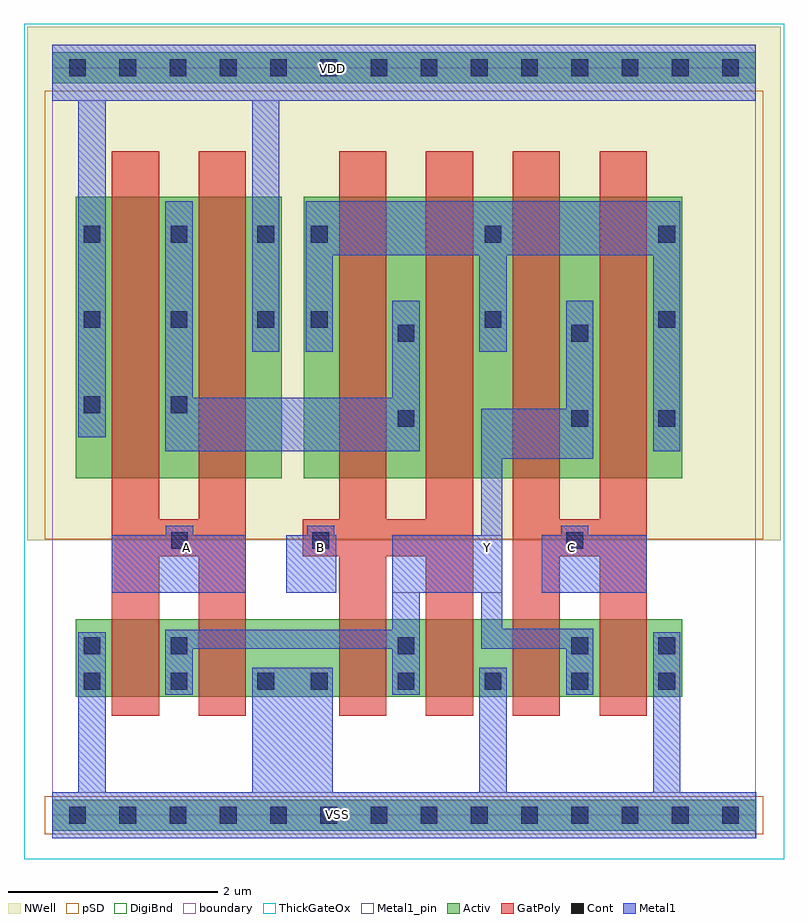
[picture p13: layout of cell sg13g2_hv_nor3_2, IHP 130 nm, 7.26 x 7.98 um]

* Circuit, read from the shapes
.subckt sg13g2_hv_nor3_2 A B C VDD VSS Y
XM1 Y A VSS VSS sg13_hv_nmos w=0.74u l=0.45u m=2
XM2 Y B VSS VSS sg13_hv_nmos w=0.74u l=0.45u m=2
XM3 Y C VSS VSS sg13_hv_nmos w=0.74u l=0.45u m=2
XM4 n1 A VDD VDD sg13_hv_pmos w=2.69u l=0.45u m=2
XM5 n1 B n2 VDD sg13_hv_pmos w=2.69u l=0.45u m=2
XM6 Y C n2 VDD sg13_hv_pmos w=2.69u l=0.45u m=2
.ends

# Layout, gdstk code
import gdstk
lib = gdstk.Library(unit=1e-6, precision=1e-09)
def R(c, l, rs):  # rectangles x0, y0, x1, y1
    for r in rs: c.add(gdstk.rectangle(r[:2], r[2:], *l))
def A(c, l, x, y, w, h, nx, ny, dx, dy):  # array of equal rectangles
    R(c, l, [(x+i*dx, y+j*dy, x+i*dx+w, y+j*dy+h) for i in range(nx) for j in range(ny)])
def P(c, l, *ps):  # polygons
    for p in ps: c.add(gdstk.Polygon(p, *l))
Activ = (1, 0)
GatPoly = (5, 0)
Cont = (6, 0)
Metal1 = (8, 0)
Metal1_pin = (8, 2)
pSD = (14, 0)
DigiBnd = (16, 0)
NWell = (31, 0)
ThickGateOx = (44, 0)
boundary = (189, 4)

sg13g2_hv_nor3_2 = lib.new_cell('sg13g2_hv_nor3_2')
R(sg13g2_hv_nor3_2, Activ, [(0,-0.15,6.72,0.15), (0.225,1.13,6.02,1.87), (0.225,3.22,2.19,5.91), (2.4,3.22,6.02,5.91), (0,6.99,6.72,7.29)])
P(sg13g2_hv_nor3_2, GatPoly, [(4.4,0.95),(4.4,6.345),(4.85,6.345),(4.85,2.825),(5.23,2.825),(5.23,6.345),(5.68,6.345),(5.68,0.95),(5.23,0.95),(5.23,2.475),(4.85,2.475),(4.85,0.95)],
  [(2.74,0.95),(2.74,2.475),(2.395,2.475),(2.395,2.825),(2.74,2.825),(2.74,6.345),(3.19,6.345),(3.19,2.825),(3.57,2.825),(3.57,6.345),(4.02,6.345),(4.02,0.95),(3.57,0.95),(3.57,2.475),(3.19,2.475),(3.19,0.95)],
  [(0.57,0.95),(0.57,6.345),(1.02,6.345),(1.02,2.825),(1.4,2.825),(1.4,6.345),(1.85,6.345),(1.85,0.95),(1.4,0.95),(1.4,2.475),(1.02,2.475),(1.02,0.95)])
A(sg13g2_hv_nor3_2, Cont, 0.16, -0.08, 0.16, 0.16, 14, 2, 0.48, 7.14)
A(sg13g2_hv_nor3_2, Cont, 0.3, 1.2, 0.16, 0.16, 3, 2, 0.83, 3.455)
A(sg13g2_hv_nor3_2, Cont, 2.47, 1.2, 0.16, 0.16, 5, 1, 0.83, 0)
A(sg13g2_hv_nor3_2, Cont, 2.47, 4.655, 0.16, 0.16, 3, 2, 1.66, 0.815)
A(sg13g2_hv_nor3_2, Cont, 0.3, 5.47, 0.16, 0.16, 3, 1, 0.83, 0)
R(sg13g2_hv_nor3_2, Cont, [(0.3,1.54,0.46,1.7), (1.13,1.54,1.29,1.7), (3.3,1.54,3.46,1.7), (4.96,1.54,5.12,1.7), (5.79,1.54,5.95,1.7), (1.135,2.545,1.295,2.705), (2.485,2.545,2.645,2.705), (4.91,2.545,5.07,2.705), (3.3,3.71,3.46,3.87), (4.96,3.71,5.12,3.87), (5.79,3.71,5.95,3.87), (0.3,3.84,0.46,4), (1.13,3.84,1.29,4), (3.3,4.525,3.46,4.685), (4.96,4.525,5.12,4.685)])
R(sg13g2_hv_nor3_2, Metal1, [(2.235,2.125,2.715,2.675), (2.435,2.675,2.695,2.765)])
P(sg13g2_hv_nor3_2, Metal1, [(1.08,1.15),(1.08,1.77),(3.25,1.77),(3.25,2.675),(4.1,2.675),(4.1,3.885),(4.91,3.885),(4.91,4.915),(5.17,4.915),(5.17,3.405),(4.3,3.405),(4.3,1.78),(5.17,1.78),(5.17,1.15),(4.91,1.15),(4.91,1.59),(4.1,1.59),(4.1,2.125),(3.51,2.125),(3.51,1.15),(3.25,1.15),(3.25,1.59),(1.34,1.59),(1.34,1.15)],
  [(1.08,3.475),(1.08,5.865),(1.34,5.865),(1.34,3.99),(3.25,3.99),(3.25,4.915),(3.51,4.915),(3.51,3.475)],
  [(0,-0.22),(0,0.22),(0.25,0.22),(0.25,1.75),(0.51,1.75),(0.51,0.22),(1.91,0.22),(1.91,1.41),(2.68,1.41),(2.68,0.22),(4.08,0.22),(4.08,1.41),(4.34,1.41),(4.34,0.22),(5.74,0.22),(5.74,1.75),(6,1.75),(6,0.22),(6.725,0.22),(6.725,-0.22)],
  [(4.675,2.125),(4.675,2.675),(4.86,2.675),(4.86,2.765),(5.12,2.765),(5.12,2.675),(5.68,2.675),(5.68,2.125)],
  [(0.57,2.125),(0.57,2.675),(1.085,2.675),(1.085,2.765),(1.345,2.765),(1.345,2.675),(1.85,2.675),(1.85,2.125)],
  [(0.25,3.61),(0.25,6.825),(0,6.825),(0,7.36),(6.72,7.36),(6.72,6.825),(2.17,6.825),(2.17,4.425),(1.91,4.425),(1.91,6.825),(0.51,6.825),(0.51,3.61)],
  [(5.74,3.475),(5.74,5.35),(4.34,5.35),(4.34,4.425),(4.08,4.425),(4.08,5.35),(2.68,5.35),(2.68,4.425),(2.42,4.425),(2.42,5.865),(6,5.865),(6,3.475)])
R(sg13g2_hv_nor3_2, Metal1_pin, [(0,-0.22,6.72,0.22), (0.57,2.125,1.85,2.675), (2.235,2.125,2.715,2.675), (3.25,2.125,4.3,2.675), (4.675,2.125,5.68,2.675), (0,6.825,6.72,7.36)])
R(sg13g2_hv_nor3_2, pSD, [(-0.07,-0.18,6.79,0.18), (-0.07,2.635,6.79,6.92)])
R(sg13g2_hv_nor3_2, DigiBnd, [(0,0,6.72,7.14)])
R(sg13g2_hv_nor3_2, NWell, [(-0.24,2.625,6.96,7.53)])
R(sg13g2_hv_nor3_2, ThickGateOx, [(-0.27,-0.42,6.99,7.56)])
R(sg13g2_hv_nor3_2, boundary, [(0,0,6.72,7.14)])
sg13g2_hv_nor3_2.add(gdstk.Label('Y', (4.16,2.555), layer=8, texttype=25))
sg13g2_hv_nor3_2.add(gdstk.Label('VDD', (2.68,7.135), layer=8, texttype=25))
sg13g2_hv_nor3_2.add(gdstk.Label('B', (2.56,2.555), layer=8, texttype=25))
sg13g2_hv_nor3_2.add(gdstk.Label('A', (1.28,2.555), layer=8, texttype=25))
sg13g2_hv_nor3_2.add(gdstk.Label('VSS', (2.725,0.005), layer=8, texttype=25))
sg13g2_hv_nor3_2.add(gdstk.Label('C', (4.96,2.555), layer=8, texttype=25))

lib.write_gds('sg13g2_hv_nor3_2.gds')
